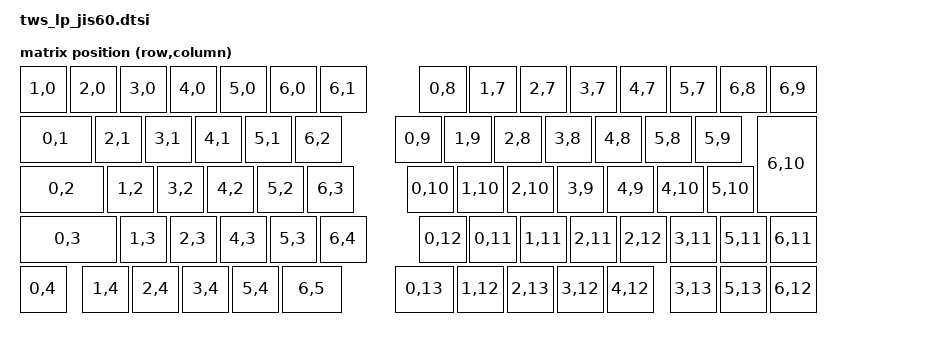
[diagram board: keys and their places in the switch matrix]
#include <dt-bindings/zmk/matrix_transform.h>
#include <physical_layouts.dtsi>

/ {
    chosen {
        // zmk,kscan = &kscan0;
        // zmk,matrix-transform = &default_transform;
        zmk,physical-layout = &physical_layout0;
    };

    physical_layout0: physical_layout_0 {
        compatible = "zmk,physical-layout";
        display-name = "Default";
        transform = <&default_transform>;
        kscan = <&kscan0>;

        keys  //                     w   h    x    y     rot    rx    ry
            = <&key_physical_attrs 100 100    0    0       0     0     0>
            , <&key_physical_attrs 100 100  100    0       0     0     0>
            , <&key_physical_attrs 100 100  200    0       0     0     0>
            , <&key_physical_attrs 100 100  300    0       0     0     0>
            , <&key_physical_attrs 100 100  400    0       0     0     0>
            , <&key_physical_attrs 100 100  500    0       0     0     0>
            , <&key_physical_attrs 100 100  600    0       0     0     0>
            , <&key_physical_attrs 100 100  800    0       0     0     0>
            , <&key_physical_attrs 100 100  900    0       0     0     0>
            , <&key_physical_attrs 100 100 1000    0       0     0     0>
            , <&key_physical_attrs 100 100 1100    0       0     0     0>
            , <&key_physical_attrs 100 100 1200    0       0     0     0>
            , <&key_physical_attrs 100 100 1300    0       0     0     0>
            , <&key_physical_attrs 100 100 1400    0       0     0     0>
            , <&key_physical_attrs 100 100 1500    0       0     0     0>
            , <&key_physical_attrs 150 100    0  100       0     0     0>
            , <&key_physical_attrs 100 100  150  100       0     0     0>
            , <&key_physical_attrs 100 100  250  100       0     0     0>
            , <&key_physical_attrs 100 100  350  100       0     0     0>
            , <&key_physical_attrs 100 100  450  100       0     0     0>
            , <&key_physical_attrs 100 100  550  100       0     0     0>
            , <&key_physical_attrs 100 100  750  100       0     0     0>
            , <&key_physical_attrs 100 100  850  100       0     0     0>
            , <&key_physical_attrs 100 100  950  100       0     0     0>
            , <&key_physical_attrs 100 100 1050  100       0     0     0>
            , <&key_physical_attrs 100 100 1150  100       0     0     0>
            , <&key_physical_attrs 100 100 1250  100       0     0     0>
            , <&key_physical_attrs 100 100 1350  100       0     0     0>
            , <&key_physical_attrs 125 200 1475  100       0     0     0>
            , <&key_physical_attrs 175 100    0  200       0     0     0>
            , <&key_physical_attrs 100 100  175  200       0     0     0>
            , <&key_physical_attrs 100 100  275  200       0     0     0>
            , <&key_physical_attrs 100 100  375  200       0     0     0>
            , <&key_physical_attrs 100 100  475  200       0     0     0>
            , <&key_physical_attrs 100 100  575  200       0     0     0>
            , <&key_physical_attrs 100 100  775  200       0     0     0>
            , <&key_physical_attrs 100 100  875  200       0     0     0>
            , <&key_physical_attrs 100 100  975  200       0     0     0>
            , <&key_physical_attrs 100 100 1075  200       0     0     0>
            , <&key_physical_attrs 100 100 1175  200       0     0     0>
            , <&key_physical_attrs 100 100 1275  200       0     0     0>
            , <&key_physical_attrs 100 100 1375  200       0     0     0>
            , <&key_physical_attrs 200 100    0  300       0     0     0>
            , <&key_physical_attrs 100 100  200  300       0     0     0>
            , <&key_physical_attrs 100 100  300  300       0     0     0>
            , <&key_physical_attrs 100 100  400  300       0     0     0>
            , <&key_physical_attrs 100 100  500  300       0     0     0>
            , <&key_physical_attrs 100 100  600  300       0     0     0>
            , <&key_physical_attrs 100 100  800  300       0     0     0>
            , <&key_physical_attrs 100 100  900  300       0     0     0>
            , <&key_physical_attrs 100 100 1000  300       0     0     0>
            , <&key_physical_attrs 100 100 1100  300       0     0     0>
            , <&key_physical_attrs 100 100 1200  300       0     0     0>
            , <&key_physical_attrs 100 100 1300  300       0     0     0>
            , <&key_physical_attrs 100 100 1400  300       0     0     0>
            , <&key_physical_attrs 100 100 1500  300       0     0     0>
            , <&key_physical_attrs 100 100    0  400       0     0     0>
            , <&key_physical_attrs 100 100  125  400       0     0     0>
            , <&key_physical_attrs 100 100  225  400       0     0     0>
            , <&key_physical_attrs 100 100  325  400       0     0     0>
            , <&key_physical_attrs 100 100  425  400       0     0     0>
            , <&key_physical_attrs 125 100  525  400       0     0     0>
            , <&key_physical_attrs 125 100  750  400       0     0     0>
            , <&key_physical_attrs 100 100  875  400       0     0     0>
            , <&key_physical_attrs 100 100  975  400       0     0     0>
            , <&key_physical_attrs 100 100 1075  400       0     0     0>
            , <&key_physical_attrs 100 100 1175  400       0     0     0>
            , <&key_physical_attrs 100 100 1300  400       0     0     0>
            , <&key_physical_attrs 100 100 1400  400       0     0     0>
            , <&key_physical_attrs 100 100 1500  400       0     0     0>
            ;
    };

    default_transform: keymap_transform_0 {
        compatible = "zmk,matrix-transform";
        columns = <14>;
        rows = <6>;
// | SW0  | SW1  | SW2  | SW3  | SW4  | SW5  | SW6  |   | SW7  | SW8  | SW9  | SW10 | SW11 | SW12 | SW13 | SW14 |
//        | SW15 | SW16 | SW17 | SW18 | SW19 | SW20 |   | SW21 | SW22 | SW23 | SW24 | SW25 | SW26 | SW27 | SW28 |
//        | SW29 | SW30 | SW31 | SW32 | SW33 | SW34 |   | SW35 | SW36 | SW37 | SW38 | SW39 | SW40 | SW41 |
//        | SW42 | SW43 | SW44 | SW45 | SW46 | SW47 |   | SW48 | SW49 | SW50 | SW51 | SW52 | SW53 | SW54 | SW55 |
//        | SW56 | SW57 | SW58 | SW59 | SW60 | SW61 |   | SW62 | SW63 | SW64 | SW65 | SW66 | SW67 | SW68 | SW69 |
        map = <
RC(1,0) RC(2,0) RC(3,0) RC(4,0) RC(5,0) RC(6,0) RC(6,1)  RC(0,8) RC(1,7) RC(2,7) RC(3,7) RC(4,7) RC(5,7) RC(6,8) RC(6,9)
        RC(0,1) RC(2,1) RC(3,1) RC(4,1) RC(5,1) RC(6,2)  RC(0,9) RC(1,9) RC(2,8) RC(3,8) RC(4,8) RC(5,8) RC(5,9) RC(6,10)
        RC(0,2) RC(1,2) RC(3,2) RC(4,2) RC(5,2) RC(6,3)  RC(0,10) RC(1,10) RC(2,10) RC(3,9) RC(4,9) RC(4,10) RC(5,10)
        RC(0,3) RC(1,3) RC(2,3) RC(4,3) RC(5,3) RC(6,4)  RC(0,12) RC(0,11) RC(1,11) RC(2,11) RC(2,12) RC(3,11) RC(5,11) RC(6,11)
        RC(0,4) RC(1,4) RC(2,4) RC(3,4) RC(5,4) RC(6,5)  RC(0,13) RC(1,12) RC(2,13) RC(3,12) RC(4,12) RC(3,13) RC(5,13) RC(6,12)
        >;
    };

    kscan0: kscan {
        compatible = "zmk,kscan-gpio-charlieplex";
        wakeup-source;
        interrupt-gpios = <&xiao_d 0 (GPIO_ACTIVE_HIGH | GPIO_PULL_DOWN)>;
    };
};
